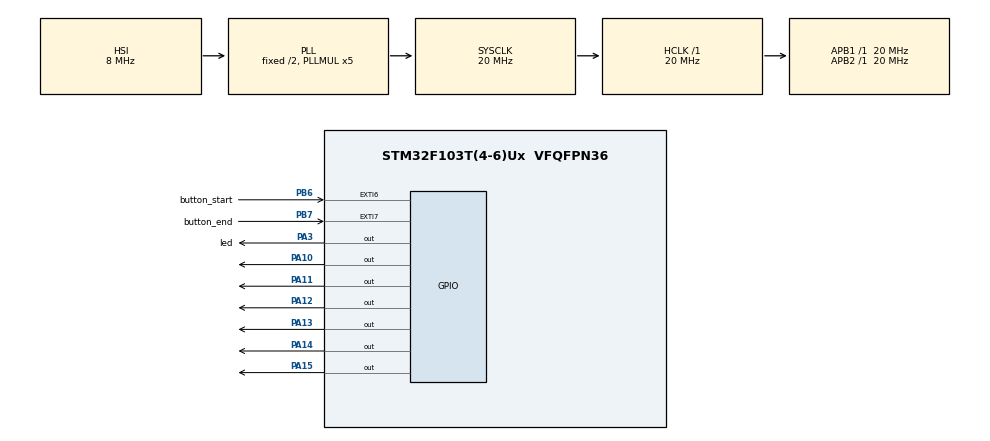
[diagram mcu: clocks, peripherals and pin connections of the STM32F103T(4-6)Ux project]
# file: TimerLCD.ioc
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Mcu.Family=STM32F1
Mcu.Name=STM32F103T(4-6)Ux
Mcu.Package=VFQFPN36
NVIC.EXTI9_5_IRQn=true\:0\:0\:false\:false\:true\:true\:true\:true
NVIC.PriorityGroup=NVIC_PRIORITYGROUP_4
NVIC.TIM2_IRQn=true\:0\:0\:false\:false\:true\:true\:true\:true
PA10.Signal=GPIO_Output
PA11.Signal=GPIO_Output
PA12.Signal=GPIO_Output
PA13.Signal=GPIO_Output
PA14.Signal=GPIO_Output
PA15.Signal=GPIO_Output
PA3.GPIO_Label=led
PA3.Signal=GPIO_Output
PB6.GPIO_Label=button_start
PB6.GPIO_ModeDefaultEXTI=GPIO_MODE_IT_RISING
PB6.GPIO_PuPd=GPIO_PULLDOWN
PB6.Signal=GPXTI6
PB7.GPIO_Label=button_end
PB7.GPIO_PuPd=GPIO_PULLDOWN
PB7.Signal=GPXTI7
ProjectManager.HeapSize=0x200
ProjectManager.StackSize=0x400
ProjectManager.TargetToolchain=STM32CubeIDE
RCC.AHBFreq_Value=20000000
RCC.APB1Freq_Value=20000000
RCC.APB1TimFreq_Value=20000000
RCC.APB2Freq_Value=20000000
RCC.APB2TimFreq_Value=20000000
RCC.HCLKFreq_Value=20000000
RCC.PLLMUL=RCC_PLL_MUL5
RCC.SYSCLKFreq_VALUE=20000000
RCC.SYSCLKSource=RCC_SYSCLKSOURCE_PLLCLK
RCC.USBFreq_Value=20000000
TIM2.Period=1000 - 1
TIM2.Prescaler=20000-1
VP_SYS_VS_ND.Mode=No_Debug
VP_TIM2_VS_ClockSourceINT.Mode=Internal
board=custom

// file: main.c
/* USER CODE BEGIN Header */
/**
  ******************************************************************************
  * @file           : main.c
  * @brief          : Main program body
  ******************************************************************************
  * @attention
  *
  * Copyright (c) 2025 STMicroelectronics.
  * All rights reserved.
  *
  * This software is licensed under terms that can be found in the LICENSE file
  * in the root directory of this software component.
  * If no LICENSE file comes with this software, it is provided AS-IS.
  *
  ******************************************************************************
  */
/* USER CODE END Header */
#include "main.h"

/* USER CODE BEGIN Includes */
#include "lcd.h"
/* USER CODE END Includes */

TIM_HandleTypeDef htim2;

/* USER CODE BEGIN PV */
int x = 0; //second
int y = 0; //minute
char s[4];
char m[4];
/* USER CODE END PV */

void SystemClock_Config(void);
static void MX_GPIO_Init(void);
static void MX_TIM2_Init(void);

int main(void)
{

  /* MCU Configuration--------------------------------------------------------*/

  /* Reset of all peripherals, Initializes the Flash interface and the Systick. */
  HAL_Init();

  /* Configure the system clock */
  SystemClock_Config();

  /* Initialize all configured peripherals */
  MX_GPIO_Init();
  MX_TIM2_Init();
  /* USER CODE BEGIN 2 */
  lcd_init();
  /* USER CODE END 2 */

  /* Infinite loop */
  while (1)
  {

    /* USER CODE BEGIN 3 */
  if (x == 60){
  		  y++;
  		  x=1;
  		  lcd_clear();
  }
	    itoa(x,s,10);
	    itoa(y,m,10);
	  	lcd_puts(0,0,m);
	  	lcd_puts(0,2,(int8_t*)":");
	  	lcd_puts(0,3, s);
	  	lcd_puts(1,0,(int8_t*)"810800024");
	  	HAL_Delay(10);
  }
  /* USER CODE END 3 */
}

void SystemClock_Config(void)
{
  RCC_OscInitTypeDef RCC_OscInitStruct = {0};
  RCC_ClkInitTypeDef RCC_ClkInitStruct = {0};

  /** Initializes the RCC Oscillators according to the specified parameters
  * in the RCC_OscInitTypeDef structure.
  */
  RCC_OscInitStruct.OscillatorType = RCC_OSCILLATORTYPE_HSI;
  RCC_OscInitStruct.HSIState = RCC_HSI_ON;
  RCC_OscInitStruct.HSICalibrationValue = RCC_HSICALIBRATION_DEFAULT;
  RCC_OscInitStruct.PLL.PLLState = RCC_PLL_ON;
  RCC_OscInitStruct.PLL.PLLSource = RCC_PLLSOURCE_HSI_DIV2;
  RCC_OscInitStruct.PLL.PLLMUL = RCC_PLL_MUL5;
  if (HAL_RCC_OscConfig(&RCC_OscInitStruct) != HAL_OK)
  {
    Error_Handler();
  }

  /** Initializes the CPU, AHB and APB buses clocks
  */
  RCC_ClkInitStruct.ClockType = RCC_CLOCKTYPE_HCLK|RCC_CLOCKTYPE_SYSCLK
                              |RCC_CLOCKTYPE_PCLK1|RCC_CLOCKTYPE_PCLK2;
  RCC_ClkInitStruct.SYSCLKSource = RCC_SYSCLKSOURCE_PLLCLK;
  RCC_ClkInitStruct.AHBCLKDivider = RCC_SYSCLK_DIV1;
  RCC_ClkInitStruct.APB1CLKDivider = RCC_HCLK_DIV1;
  RCC_ClkInitStruct.APB2CLKDivider = RCC_HCLK_DIV1;

  if (HAL_RCC_ClockConfig(&RCC_ClkInitStruct, FLASH_LATENCY_0) != HAL_OK)
  {
    Error_Handler();
  }
}

static void MX_TIM2_Init(void)
{

  TIM_ClockConfigTypeDef sClockSourceConfig = {0};
  TIM_MasterConfigTypeDef sMasterConfig = {0};

  htim2.Instance = TIM2;
  htim2.Init.Prescaler = 20000-1;
  htim2.Init.CounterMode = TIM_COUNTERMODE_UP;
  htim2.Init.Period = 1000 - 1;
  htim2.Init.ClockDivision = TIM_CLOCKDIVISION_DIV1;
  htim2.Init.AutoReloadPreload = TIM_AUTORELOAD_PRELOAD_DISABLE;
  if (HAL_TIM_Base_Init(&htim2) != HAL_OK)
  {
    Error_Handler();
  }
  sClockSourceConfig.ClockSource = TIM_CLOCKSOURCE_INTERNAL;
  if (HAL_TIM_ConfigClockSource(&htim2, &sClockSourceConfig) != HAL_OK)
  {
    Error_Handler();
  }
  sMasterConfig.MasterOutputTrigger = TIM_TRGO_RESET;
  sMasterConfig.MasterSlaveMode = TIM_MASTERSLAVEMODE_DISABLE;
  if (HAL_TIMEx_MasterConfigSynchronization(&htim2, &sMasterConfig) != HAL_OK)
  {
    Error_Handler();
  }

}

static void MX_GPIO_Init(void)
{
  GPIO_InitTypeDef GPIO_InitStruct = {0};

  /* GPIO Ports Clock Enable */
  __HAL_RCC_GPIOA_CLK_ENABLE();
  __HAL_RCC_GPIOB_CLK_ENABLE();

  /*Configure GPIO pin Output Level */
  HAL_GPIO_WritePin(GPIOA, led_Pin|GPIO_PIN_10|GPIO_PIN_11|GPIO_PIN_12
                          |GPIO_PIN_13|GPIO_PIN_14|GPIO_PIN_15, GPIO_PIN_RESET);

  /*Configure GPIO pins : led_Pin PA10 PA11 PA12
                           PA13 PA14 PA15 */
  GPIO_InitStruct.Pin = led_Pin|GPIO_PIN_10|GPIO_PIN_11|GPIO_PIN_12
                          |GPIO_PIN_13|GPIO_PIN_14|GPIO_PIN_15;
  GPIO_InitStruct.Mode = GPIO_MODE_OUTPUT_PP;
  GPIO_InitStruct.Pull = GPIO_NOPULL;
  GPIO_InitStruct.Speed = GPIO_SPEED_FREQ_LOW;
  HAL_GPIO_Init(GPIOA, &GPIO_InitStruct);

  /*Configure GPIO pins : button_start_Pin button_end_Pin */
  GPIO_InitStruct.Pin = button_start_Pin|button_end_Pin;
  GPIO_InitStruct.Mode = GPIO_MODE_IT_RISING;
  GPIO_InitStruct.Pull = GPIO_PULLDOWN;
  HAL_GPIO_Init(GPIOB, &GPIO_InitStruct);

  /* EXTI interrupt init*/
  HAL_NVIC_SetPriority(EXTI9_5_IRQn, 0, 0);
  HAL_NVIC_EnableIRQ(EXTI9_5_IRQn);

}

/* USER CODE BEGIN 4 */
void HAL_GPIO_EXTI_Callback(uint16_t GPIO_Pin){
	if (GPIO_Pin == button_start_Pin ){
		HAL_TIM_Base_Start_IT(&htim2);
	}
	if (GPIO_Pin == button_end_Pin){
		HAL_TIM_Base_Stop_IT(&htim2);
	}
}

void HAL_TIM_PeriodElapsedCallback(TIM_HandleTypeDef* htim)
{
	UNUSED(htim);
    if (htim -> Instance == TIM2){
    	x=x+1;
    }
}
/* USER CODE END 4 */

void Error_Handler(void)
{
  __disable_irq();
  while (1)
  {
  }
}
